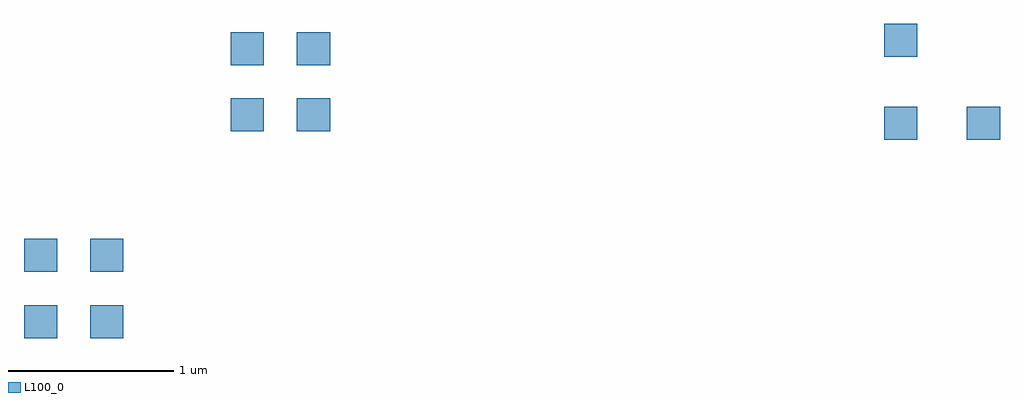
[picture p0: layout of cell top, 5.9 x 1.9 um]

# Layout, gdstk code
import gdstk
lib = gdstk.Library(unit=1e-6, precision=1e-09)
def R(c, l, rs):  # rectangles x0, y0, x1, y1
    for r in rs: c.add(gdstk.rectangle(r[:2], r[2:], *l))
L100_0 = (100, 0)

top = lib.new_cell('top')
R(top, L100_0, [(-1.1,-1.1,-0.9,-0.9), (-0.7,-1.1,-0.5,-0.9), (-1.1,-0.7,-0.9,-0.5), (-0.7,-0.7,-0.5,-0.5), (4.1,0.1,4.3,0.3), (4.6,0.1,4.8,0.3), (0.15,0.15,0.35,0.35), (0.55,0.15,0.75,0.35), (0.15,0.55,0.35,0.75), (0.55,0.55,0.75,0.75), (4.1,0.6,4.3,0.8)])

lib.write_gds('top.gds')
